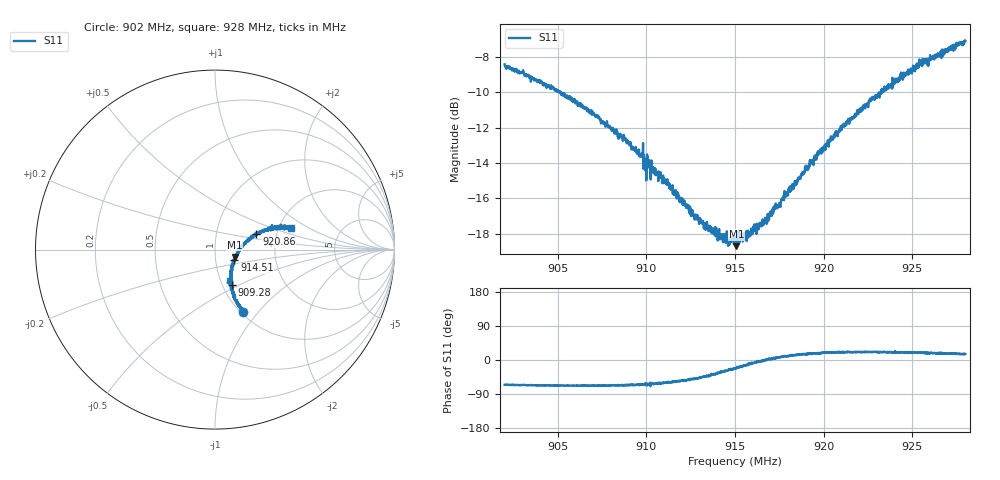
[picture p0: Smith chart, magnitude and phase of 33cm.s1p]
! Calibrated averaged scanner-service zoom
# Hz S RI R 50
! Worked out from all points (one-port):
!   2001 points, 902 MHz to 928 MHz, reference 50 ohm
!   lowest |S11| = -18.7 dB at 915.08 MHz (marker M1), VSWR 1.26, Z = 62 - j5.1 ohm
!   |S11| at or under -10 dB: 905.0781 MHz to 905.0831 MHz (5.029 kHz wide, 0.000556 % of centre); 905.1326 MHz to 905.1664 MHz (33.89 kHz wide, 0.00374 % of centre); 905.17 MHz to 923.24 MHz (18.06 MHz wide, 1.98 % of centre)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
!   S11 on the Smith chart (normalised r, x): 902 MHz: 1.03, -0.83; 909.28 MHz: 1.10, -0.46; 914.51 MHz: 1.23, -0.15; 920.86 MHz: 1.57, +0.29; 928 MHz: 2.33, +0.70
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9.02e8  0.1564 -0.3458
9.0525e8  0.12 -0.2865
9.06966e8  0.1059 -0.2561
9.085e8  0.0905 -0.218
9.08851e8  0.0962 -0.2132
9.0928e8  0.0923 -0.197
9.09683e8  0.0854 -0.1895
9.09956e8  0.0947 -0.172
9.10164e8  0.0859 -0.1764
9.1175e8  0.0905 -0.1342
9.13219e8  0.0969 -0.0936
9.14116e8  0.1046 -0.0709
9.14506e8  0.1082 -0.059
9.14701e8  0.1101 -0.0491
9.15e8  0.1135 -0.046
9.15078e8  0.1088 -0.0406
9.15546e8  0.1179 -0.0296
9.16703e8  0.1397 -0.00291
9.17223e8  0.1486 0.0143
9.1747e8  0.1497 0.0184
9.1825e8  0.1698 0.0339
9.19719e8  0.204 0.0656
9.20863e8  0.2305 0.0864
9.215e8  0.2478 0.0929
9.22683e8  0.2809 0.1052
9.2475e8  0.3444 0.115
9.25517e8  0.3592 0.1273
9.28e8  0.4248 0.1205
